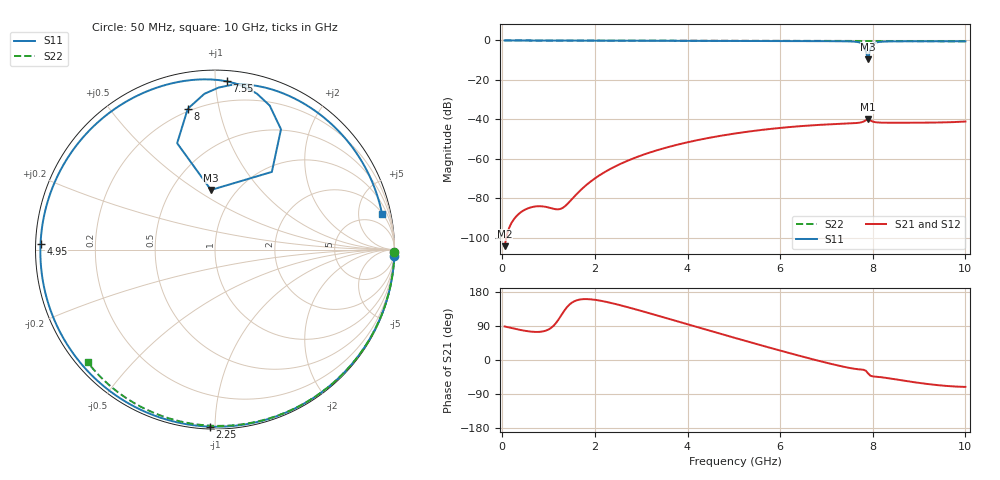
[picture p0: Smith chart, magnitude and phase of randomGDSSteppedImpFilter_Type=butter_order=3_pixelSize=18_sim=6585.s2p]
! freq	dB(S11)	phase(S11)	dB(S12)	phase(S12)
!  dB(S21)	phase(S21)	dB(S22)	phase(S22)
!S-par simulation data
#  GHz  S  DB  R 50
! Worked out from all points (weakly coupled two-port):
!   200 points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, 50 MHz to 10 GHz, reference 50 ohm
!   highest |S21| = -40.05 dB at 7.9 GHz (marker M1); lowest = -104.3 dB at 50 MHz (marker M2)
!   lowest |S11| = -9.6 dB at 7.9 GHz (marker M3), VSWR 2.00, Z = 38.5 + j28.7 ohm
!   |S11| at or under -10 dB: nowhere
!   |S22| runs from -0.5 to 0.0 dB; largest |S21 - S12| = 0
!   S11 on the Smith chart (normalised r, x): 50 MHz: 0, -52; 2.25 GHz: 0.01, -0.97; 4.95 GHz: 0.01, +0.02; 7.55 GHz: 0.07, +1.07; 8 GHz: 0.19, +0.81; 10 GHz: 2.16, +9.04
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0.05  -0.00 -2.2  -104.28 88.5  -104.28 88.5  -0.00 -0.8
0.7  -0.04 -30.1  -84.19 74.1  -84.19 74.1  -0.01 -11.2
1.5  -0.08 -62.9  -80.54 151.1  -80.54 151.1  -0.03 -23.8
1.75  -0.09 -72.7  -74.59 160.6  -74.59 160.6  -0.03 -27.6
2.25  -0.12 -91.6  -66.20 153.3  -66.20 153.3  -0.04 -35.3
3.4  -0.16 -131.8  -55.25 115.6  -55.25 115.6  -0.07 -52.6
4.2  -0.20 -157.9  -50.60 87.2  -50.60 87.2  -0.09 -64.1
4.95  -0.24 178.2  -47.43 60.8  -47.43 60.8  -0.11 -74.6
5.05  -0.25 175.1  -47.07 57.4  -47.07 57.4  -0.12 -76.0
5.85  -0.29 149.3  -44.69 29.9  -44.69 29.9  -0.15 -86.8
6.7  -0.34 120.7  -43.00 2.0  -43.00 2.0  -0.19 -97.9
7.55  -0.54 86.0  -42.00 -22.1  -42.00 -22.1  -0.24 -108.6
7.7  -0.92 75.0  -41.72 -24.7  -41.72 -24.7  -0.25 -110.5
7.8  -2.33 61.3  -41.12 -25.8  -41.12 -25.8  -0.26 -111.7
7.85  -5.41 53.8  -40.45 -28.2  -40.45 -28.2  -0.26 -112.4
7.9  -9.55 93.9  -40.05 -35.5  -40.05 -35.5  -0.27 -113.0
7.95  -4.02 109.6  -40.58 -41.6  -40.58 -41.6  -0.27 -113.6
8  -1.95 100.9  -41.12 -43.3  -41.12 -43.3  -0.28 -114.2
8.1  -0.89 88.7  -41.55 -44.3  -41.55 -44.3  -0.28 -115.5
8.35  -0.50 73.1  -41.71 -48.3  -41.71 -48.3  -0.30 -118.5
9.15  -0.41 41.4  -41.66 -62.8  -41.66 -62.8  -0.38 -128.2
10  -0.43 12.0  -41.07 -71.0  -41.07 -71.0  -0.47 -138.5
